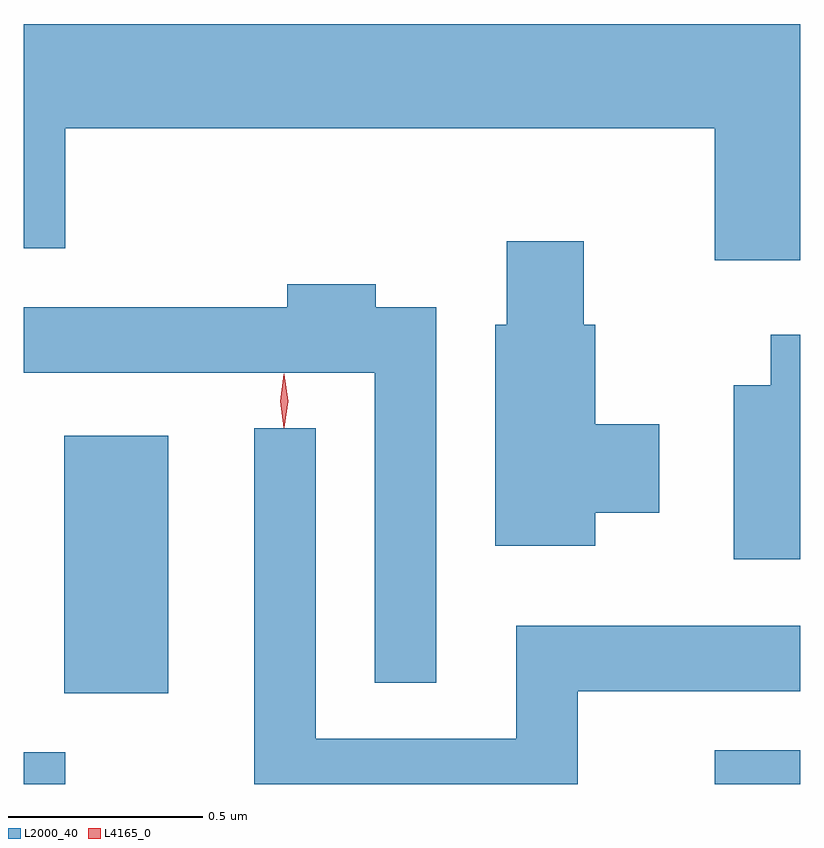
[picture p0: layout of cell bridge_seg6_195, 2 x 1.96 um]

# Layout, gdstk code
import gdstk
lib = gdstk.Library(unit=1e-6, precision=1e-09)
def R(c, l, rs):  # rectangles x0, y0, x1, y1
    for r in rs: c.add(gdstk.rectangle(r[:2], r[2:], *l))
def P(c, l, *ps):  # polygons
    for p in ps: c.add(gdstk.Polygon(p, *l))
L2000_40 = (2000, 40)
L4165_0 = (4165, 0)

bridge_seg6_195 = lib.new_cell('bridge_seg6_195')
R(bridge_seg6_195, L2000_40, [(1095.022,1568.327,1095.129,1568.409), (1096.801,1568.327,1097.022,1568.414), (1095.126,1568.561,1095.394,1569.224)])
P(bridge_seg6_195, L2000_40, [(1097.022,1570.284),(1095.022,1570.284),(1095.022,1569.706),(1095.129,1569.706),(1095.129,1570.016),(1096.801,1570.016),(1096.801,1569.676),(1097.022,1569.676)],
  [(1096.494,1569.026),(1096.659,1569.026),(1096.659,1569.254),(1096.494,1569.254),(1096.494,1569.509),(1096.464,1569.509),(1096.464,1569.724),(1096.266,1569.724),(1096.266,1569.509),(1096.236,1569.509),(1096.236,1568.941),(1096.494,1568.941)],
  [(1096.084,1569.554),(1095.929,1569.554),(1095.929,1569.614),(1095.701,1569.614),(1095.701,1569.554),(1095.022,1569.554),(1095.022,1569.386),(1095.926,1569.386),(1095.926,1568.588),(1096.084,1568.588)],
  [(1097.022,1569.484),(1096.946,1569.484),(1096.946,1569.354),(1096.851,1569.354),(1096.851,1568.906),(1097.022,1568.906)],
  [(1096.449,1568.566),(1097.022,1568.566),(1097.022,1568.734),(1096.291,1568.734),(1096.291,1568.444),(1095.774,1568.444),(1095.774,1569.243),(1095.616,1569.243),(1095.616,1568.327),(1096.449,1568.327)])
P(bridge_seg6_195, L4165_0, [(1095.693,1569.243),(1095.692,1569.244),(1095.683,1569.313),(1095.692,1569.382),(1095.693,1569.383),(1095.693,1569.382),(1095.703,1569.313),(1095.693,1569.244)])

lib.write_gds('bridge_seg6_195.gds')
